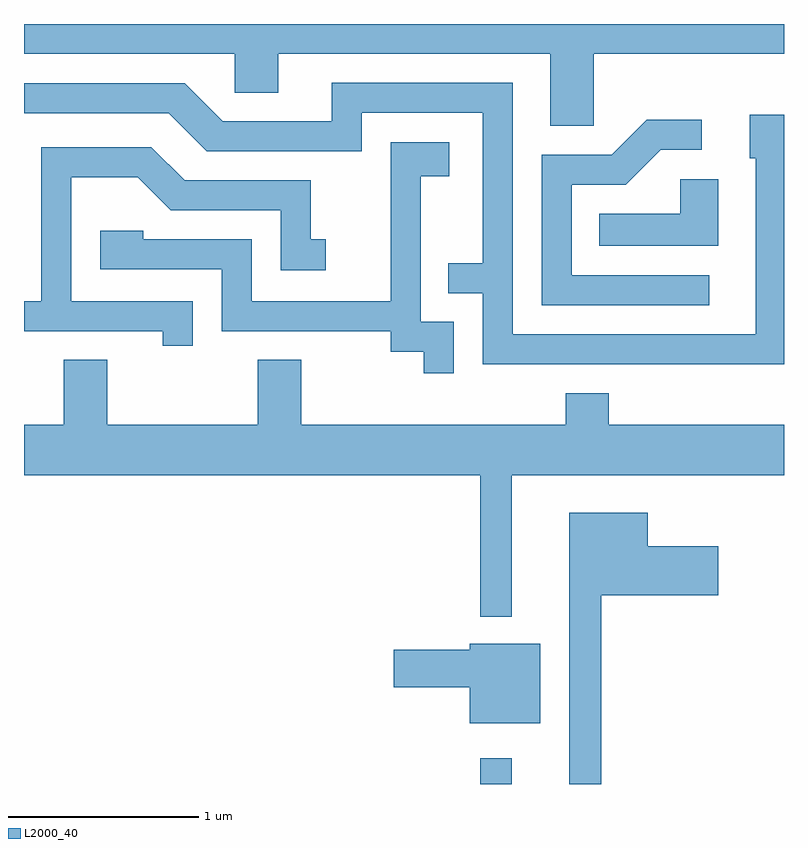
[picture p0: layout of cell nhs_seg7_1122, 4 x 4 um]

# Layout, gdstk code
import gdstk
lib = gdstk.Library(unit=1e-6, precision=1e-09)
def R(c, l, rs):  # rectangles x0, y0, x1, y1
    for r in rs: c.add(gdstk.rectangle(r[:2], r[2:], *l))
def P(c, l, *ps):  # polygons
    for p in ps: c.add(gdstk.Polygon(p, *l))
L2000_40 = (2000, 40)

nhs_seg7_1122 = lib.new_cell('nhs_seg7_1122')
R(nhs_seg7_1122, L2000_40, [(222.011,1708.252,222.179,1708.388)])
P(nhs_seg7_1122, L2000_40, [(222.609,1712.096),(223.611,1712.096),(223.611,1712.252),(219.611,1712.252),(219.611,1712.096),(220.721,1712.096),(220.721,1711.891),(220.949,1711.891),(220.949,1712.096),(222.381,1712.096),(222.381,1711.716),(222.609,1711.716)],
  [(223.611,1711.774),(223.431,1711.774),(223.431,1711.546),(223.461,1711.546),(223.461,1710.619),(222.184,1710.619),(222.184,1711.944),(221.231,1711.944),(221.231,1711.739),(220.657,1711.739),(220.457,1711.939),(219.611,1711.939),(219.611,1711.781),(220.374,1711.781),(220.574,1711.581),(221.389,1711.581),(221.389,1711.786),(222.026,1711.786),(222.026,1710.994),(221.843,1710.994),(221.843,1710.836),(222.026,1710.836),(222.026,1710.461),(223.611,1710.461)],
  [(223.218,1710.929),(222.494,1710.929),(222.494,1711.406),(222.777,1711.406),(222.962,1711.591),(223.178,1711.591),(223.178,1711.749),(222.889,1711.749),(222.704,1711.564),(222.336,1711.564),(222.336,1710.771),(223.218,1710.771)],
  [(221.874,1710.684),(221.699,1710.684),(221.699,1711.451),(221.849,1711.451),(221.849,1711.629),(221.541,1711.629),(221.541,1710.794),(220.809,1710.794),(220.809,1711.119),(220.239,1711.119),(220.239,1711.164),(220.011,1711.164),(220.011,1710.961),(220.651,1710.961),(220.651,1710.636),(221.541,1710.636),(221.541,1710.526),(221.716,1710.526),(221.716,1710.413),(221.874,1710.413)],
  [(220.499,1710.794),(219.859,1710.794),(219.859,1711.446),(220.209,1711.446),(220.384,1711.271),(220.961,1711.271),(220.961,1710.956),(221.198,1710.956),(221.198,1711.119),(221.119,1711.119),(221.119,1711.429),(220.457,1711.429),(220.282,1711.604),(219.701,1711.604),(219.701,1710.794),(219.611,1710.794),(219.611,1710.636),(220.341,1710.636),(220.341,1710.558),(220.499,1710.558)],
  [(223.264,1711.434),(223.066,1711.434),(223.066,1711.254),(222.638,1711.254),(222.638,1711.086),(223.264,1711.086)],
  [(222.179,1709.876),(223.611,1709.876),(223.611,1710.144),(222.689,1710.144),(222.689,1710.309),(222.461,1710.309),(222.461,1710.144),(221.069,1710.144),(221.069,1710.484),(220.841,1710.484),(220.841,1710.144),(220.049,1710.144),(220.049,1710.484),(219.821,1710.484),(219.821,1710.144),(219.611,1710.144),(219.611,1709.876),(222.011,1709.876),(222.011,1709.133),(222.179,1709.133)],
  [(222.649,1709.246),(223.264,1709.246),(223.264,1709.504),(222.894,1709.504),(222.894,1709.679),(222.481,1709.679),(222.481,1708.252),(222.649,1708.252)],
  [(222.329,1708.989),(221.956,1708.989),(221.956,1708.959),(221.556,1708.959),(221.556,1708.761),(221.956,1708.761),(221.956,1708.571),(222.329,1708.571)])

lib.write_gds('nhs_seg7_1122.gds')
